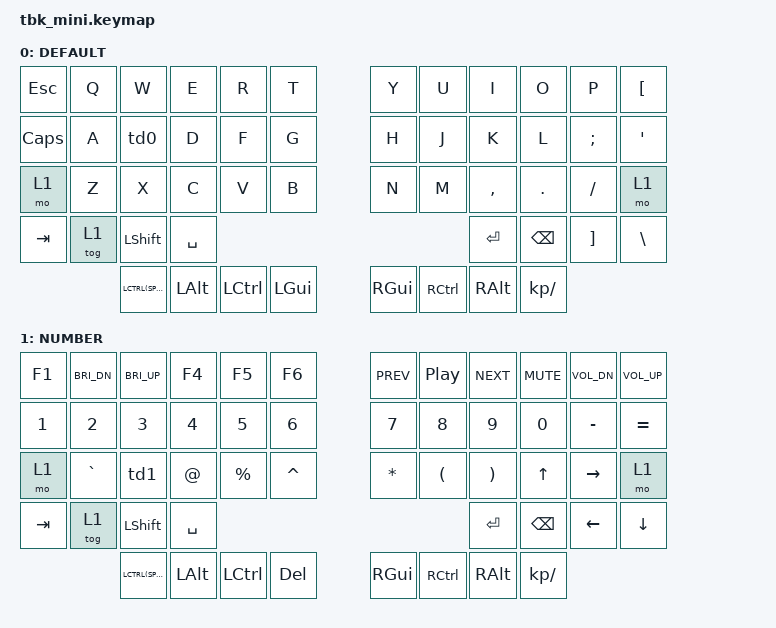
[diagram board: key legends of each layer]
/*
 * Copyright (c) 2020 The ZMK Contributors
 *
 * SPDX-License-Identifier: MIT
 */

#include <behaviors.dtsi>
#include <dt-bindings/zmk/keys.h>
#include <dt-bindings/zmk/bt.h>


#define DEFAULT 0
#define NUMBER  1




/ {

    behaviors {
        td0: tap_dance_0 {
            compatible = "zmk,behavior-tap-dance";
            label = "TAP_DANCE_0";
            #binding-cells = <0>;
            tapping-term-ms = <200>;
            bindings = <&kp S >, <&kp S>, <&kp KP_MINUS>;
        };
        td1: tap_dance_1 {
            compatible = "zmk,behavior-tap-dance";
            label = "TAP_DANCE_1";
            #binding-cells = <0>;
            tapping-term-ms = <200>;
            bindings = <&kp EXCL >, <&kp UNDER>, <&kp EXCL>;
        };
    };

    


    keymap {
       compatible = "zmk,keymap";
       default_layer {
            label = "DEFAULT";
            bindings = <
                     &kp ESC  &kp Q &kp W &kp E &kp R &kp T                       &kp Y    &kp U   &kp I      &kp O    &kp P       &kp LBKT
                       &kp CAPS  &kp A &td0 &kp D &kp F &kp G                     &kp H   &kp J   &kp K       &kp L     &kp SEMI     &kp SQT
                          &mo 1   &kp Z &kp X &kp C &kp V &kp B                    &kp N    &kp M   &kp COMMA   &kp DOT   &kp FSLH    &mo 1
                           &kp TAB &tog 1  &kp LSHIFT &kp SPACE                    &kp ENTER  &kp BSPC &kp RBKT  &kp BSLH       
               &kp LCTRL(SPACE)  &kp LALT &kp  LCTRL  &kp  LGUI                      &kp RGUI  &kp RCTRL &kp RALT   &kp KP_DIVIDE

            >;
        };


          number_layer {
            label = "NUMBER";
            bindings = <
              &kp F1 &kp C_BRI_DN &kp C_BRI_UP &kp F4 &kp F5 &kp F6                            &kp C_PREV &kp C_PP  &kp C_NEXT  &kp K_MUTE &kp C_VOL_DN  &kp C_VOL_UP
             &kp N1 &kp N2 &kp N3  &kp N4  &kp N5  &kp N6                                       &kp N7 &kp N8 &kp N9  &kp N0  &kp MINUS  &kp EQUAL
              &mo 1   &kp GRAVE  &td1 &kp AT  &kp PRCNT &kp CARET                                &kp STAR &kp LPAR &kp RPAR &kp UP &kp RIGHT &mo 1 
                          &kp TAB &tog 1  &kp LSHIFT &kp SPACE                                 &kp ENTER &kp BSPC &kp LEFT &kp DOWN
                        &kp  LCTRL(SPACE)  &kp LALT &kp  LCTRL   &kp  DEL                      &kp RGUI  &kp RCTRL &kp RALT   &kp KP_DIVIDE	

            >;
        };
   };
};

